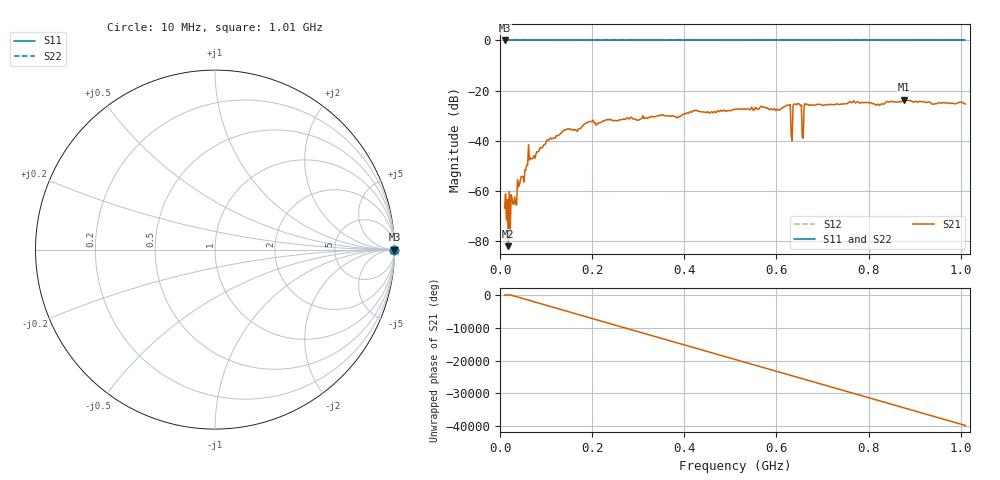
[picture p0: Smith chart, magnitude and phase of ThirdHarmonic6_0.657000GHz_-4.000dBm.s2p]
! 8/15/2025 9:48:42 PM
! C:\ANRITSUVNA\TEMP\TEMP.S2P
! CHANNEL.1
! TR.MEASUREMENT
! RAW.DATA
! RF.CORRECTION.OFF
! AVERAGING.OFF
! IF.BANDWIDTH: 5KHZ
! SWEEPTYPE:  FREQ.SWEEP(Linear)
! Reference Plane Port Info
! PORT:  PORT1  PORT2
! DISTANCE:  0  m  0  m
! TIME:  0  s  0  s
! PHASE.OFFSET:  0  deg.  0  deg.
! LOSS:  0  dB  0  dB
! REF.LOSS:  0  dB  0  dB
! REF.FREQ:  0  Hz  0  Hz
! Power Info
! POWER:  -20  dBm  -20  dBm
! EFF.POWER:  -20  dBm  -20  dBm
! SOURCE.ATTEN:  0  dB  0  dB
! TEST.ATTEN:  0  dB  0  dB
# GHZ S RI R 50.0
! FREQ.GHZ  S11RE  S11IM  S21RE  S21IM  S12RE  S12IM  S22RE  S22IM
!; PortSelection: Port_12
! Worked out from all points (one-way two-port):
!   501 points, 10 MHz to 1.01 GHz, reference 50 ohm
!   highest |S21| = -23.68 dB at 876 MHz (marker M1); lowest = -82.1 dB at 18 MHz (marker M2)
!   lowest |S11| = 0.0 dB at 10 MHz (marker M3)
!   |S11| at or under -10 dB: nowhere
!   |S22| runs from 0.0 to 0.0 dB; largest |S21 - S12| = 1.1
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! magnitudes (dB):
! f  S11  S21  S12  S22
! 10 MHz  0.0  -66.9  0.0  0.0
! 16 MHz  0.0  -63.5  0.0  0.0
! 18 MHz  0.0  -82.1  0.0  0.0
! 24 MHz  0.0  -61.6  0.0  0.0
! 32 MHz  0.0  -62.4  0.0  0.0
! 42 MHz  0.0  -57.6  0.0  0.0
! 66 MHz  0.0  -46.8  0.0  0.0
! 142 MHz  0.0  -35.7  0.0  0.0
! 178 MHz  0.0  -34.3  0.0  0.0
! 344 MHz  0.0  -30.1  0.0  0.0
! 510 MHz  0.0  -27.5  0.0  0.0
! 626 MHz  0.0  -25.8  0.0  0.0
! 632 MHz  0.0  -38.1  0.0  0.0
! 644 MHz  0.0  -25.6  0.0  0.0
! 650 MHz  0.0  -25.6  0.0  0.0
! 656 MHz  0.0  -38.7  0.0  0.0
! 660 MHz  0.0  -26.1  0.0  0.0
! 664 MHz  0.0  -25.6  0.0  0.0
! 678 MHz  0.0  -25.8  0.0  0.0
! 844 MHz  0.0  -24.6  0.0  0.0
! 876 MHz  0.0  -23.7  0.0  0.0
! 1.01 GHz  0.0  -25.4  0.0  0.0
